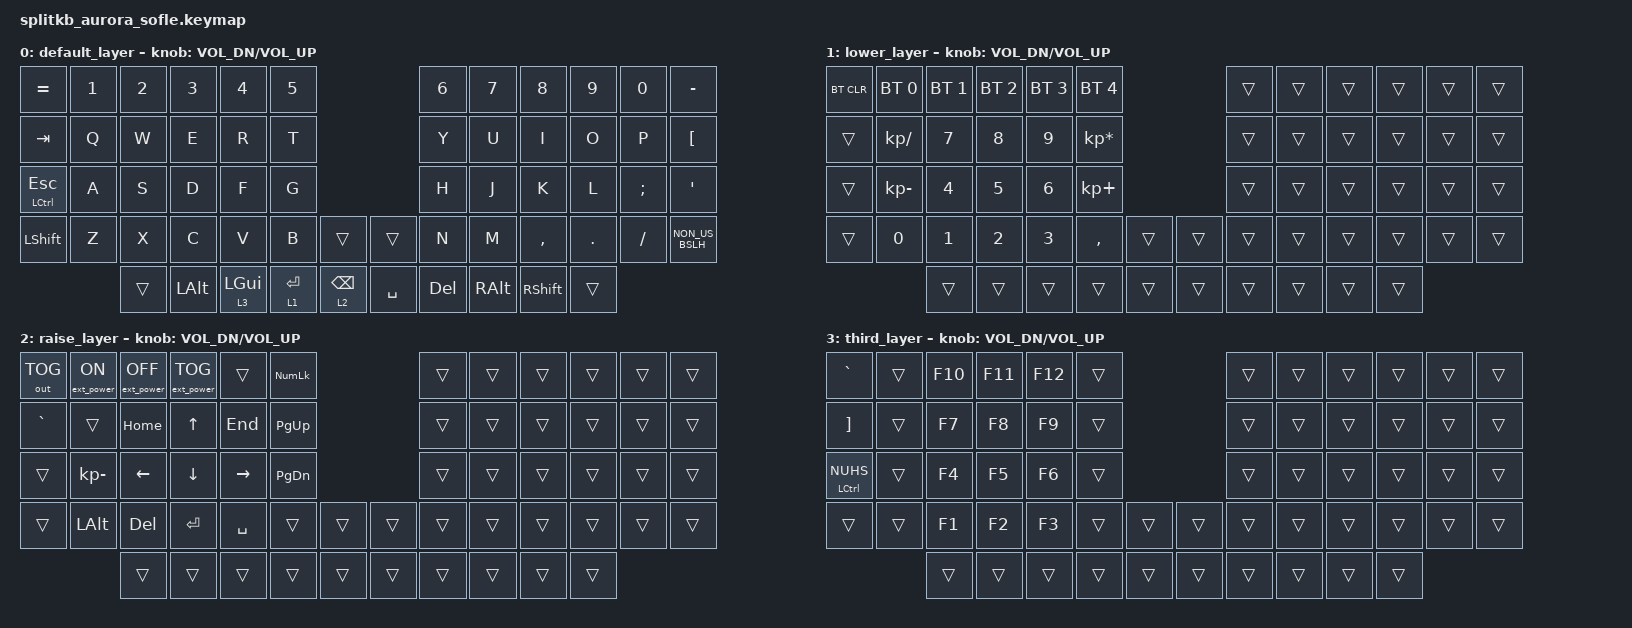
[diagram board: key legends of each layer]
/*
 * Copyright (c) 2023 The ZMK Contributors
 *
 * SPDX-License-Identifier: MIT
 */

#include <behaviors.dtsi>
#include <dt-bindings/zmk/keys.h>
#include <dt-bindings/zmk/bt.h>
#include <dt-bindings/zmk/ext_power.h>
#include <dt-bindings/zmk/outputs.h>

/* Uncomment this block if using RGB
&led_strip {
    chain-length = <6>;
    // chain-length = <35>; // Uncomment if using both per-key and underglow LEDs
    // chain-length = <29>; // Uncomment if using only per-key LEDs.
};
 */

/ {
    keymap {
        compatible = "zmk,keymap";

        default_layer {
// ------------------------------------------------------------------------------------------------------------
// | EQUAL    |  1  |  2  |  3     |  4      |  5   |                   |  6   |  7    |  8    |  9   |   0   |   +   |
// | TAB      |  Q  |  W  |  E     |  R      |  T   |                   |  Y   |  U    |  I    |  O   |   P   |   Å   |
// | CTRL/ESC |  A  |  S  |  D     |  F      |  G   |                   |  H   |  J    |  K    |  L   |   Ö   |   Ä   |
// | SHIFT    |  Z  |  X  |  C     |  V      |  B   |   |       |       |  N   |  M    |  ,    |  .   |   -   |  <>|  |
//            |     | ALT | GUI/L3 | NUM     | BSPC/NAV |       | SPACE | DEL  | RALT  |       |      |
            bindings = <
&kp EQUAL      &kp N1     &kp N2    &kp N3   &kp N4      &kp N5                                &kp N6   &kp N7   &kp N8        &kp N9   &kp N0    &kp MINUS
&kp TAB        &kp Q      &kp W     &kp E    &kp R       &kp T                                 &kp Y    &kp U    &kp I         &kp O    &kp P     &kp LBKT
&mt LCTRL ESC  &kp A      &kp S     &kp D    &kp F       &kp G                                 &kp H    &kp J    &kp K         &kp L    &kp SEMI  &kp SQT
&kp LSHFT      &kp Z      &kp X     &kp C    &kp V       &kp B       &trans         &trans     &kp N    &kp M    &kp COMMA     &kp DOT  &kp FSLH  &kp NON_US_BSLH
                          &trans    &kp LALT &lt 3 LGUI  &lt 1 RET   &lt 2 BSPC     &kp SPACE  &kp DEL  &kp RALT &kp RSHFT     &trans 
            >;

            sensor-bindings = <&inc_dec_kp C_VOL_DN C_VOL_UP>;
        };

        lower_layer {
// ------------------------------------------------------------------------------------------------------------
// | BTCLR | BT1 | BT2 |  BT3 |  BT4 |  BT5 |                   |      |       |       |      |       |       |
// |       |  /  |  7  |  8   |  9   |  *   |                   |      |       |       |      |       |       |
// |       |  -  |  4  |  5   |  6   |  +   |                   |      |       |       |      |       |       |
// |       |  0  |  1  |  2   |  3   |  ,   |        |  |       |      |       |       |      |       |       |
//               |     |      |      |      |        |  |       |      |       |       |      |
            bindings = <
&bt BT_CLR  &bt BT_SEL 0     &bt BT_SEL 1    &bt BT_SEL 2    &bt BT_SEL 3   &bt BT_SEL 4                       &trans    &trans    &trans    &trans    &trans    &trans
&trans      &kp KP_DIVIDE    &kp N7          &kp N8          &kp N9         &kp KP_MULTIPLY                    &trans    &trans    &trans    &trans    &trans    &trans
&trans      &kp KP_MINUS     &kp N4          &kp N5          &kp N6         &kp KP_PLUS                        &trans    &trans    &trans    &trans    &trans    &trans
&trans      &kp N0           &kp N1          &kp N2          &kp N3         &kp COMMA    &trans      &trans    &trans    &trans    &trans    &trans    &trans    &trans
                             &trans          &trans          &trans         &trans       &trans      &trans    &trans    &trans    &trans    &trans
            >;

            sensor-bindings = <&inc_dec_kp C_VOL_DN C_VOL_UP>;
        };

        raise_layer {
// ------------------------------------------------------------------------------------------------------------
// | USB/BT | EP_ON | EP_OFF | EP_TOG |      | NUML |                   |      |       |       |      |       |       |
// |        |       |  HOME  |   ^    | END  | PGUP |                   |      |       |       |      |       |       |
// |        |   -   |   <-   |   v    |  ->  | PGDN |                   |      |       |       |      |       |       |
// |        |  LALT |  DEL   | RETUR  | SPACE| LALT |        |  |       |      |       |       |      |       |       |
//                  |        |        |      |      |        |  |       |      |       |       |      |
            bindings = <
&out OUT_TOG &ext_power EP_ON &ext_power EP_OFF &ext_power EP_TOG  &trans    &kp KP_NLCK                     &trans      &trans    &trans    &trans   &trans    &trans
&kp GRAVE    &trans           &kp HOME          &kp UP             &kp END   &kp PG_UP                       &trans      &trans    &trans    &trans   &trans    &trans
&trans       &kp KP_MINUS     &kp LEFT          &kp DOWN           &kp RIGHT &kp PG_DN                       &trans      &trans    &trans    &trans   &trans    &trans
&trans       &kp LALT         &kp DEL           &kp RET            &kp SPACE &trans    &trans        &trans  &trans      &trans    &trans    &trans   &trans    &trans
                              &trans            &trans             &trans    &trans    &trans        &trans  &trans      &trans    &trans    &trans
            >;

            sensor-bindings = <&inc_dec_kp C_VOL_DN C_VOL_UP>;
        };

        third_layer {
// ------------------------------------------------------------------------------------------------------------
// |  GRAVE     |       |   F10  |   F11  |  F12 |      |                      |      |       |       |      |       |       |
// |  RBKT      |       |   F7   |   F8   |  F9  |      |                      |      |       |       |      |       |       |
// |  CTRL/NUHS |       |   F4   |   F5   |  F6  |      |                      |      |       |       |      |       |       |
// |            |       |   F1   |   F2   |  F3  |      |      |       |       |      |       |       |      |       |       |
//              |       |        |      |      |        |      |       |       |      |       |       |
            bindings = <
&kp GRAVE      &trans     &kp F10     &kp F11      &kp F12   &trans                          &trans      &trans    &trans    &trans   &trans    &trans
&kp RBKT       &trans     &kp F7      &kp F8       &kp F9    &trans                          &trans      &trans    &trans    &trans   &trans    &trans
&mt LCTRL NUHS &trans     &kp F4      &kp F5       &kp F6    &trans                          &trans      &trans    &trans    &trans   &trans    &trans
&trans         &trans     &kp F1      &kp F2       &kp F3    &trans    &trans        &trans  &trans      &trans    &trans    &trans   &trans    &trans
                          &trans      &trans       &trans    &trans    &trans        &trans  &trans      &trans    &trans    &trans
            >;

            sensor-bindings = <&inc_dec_kp C_VOL_DN C_VOL_UP>;
        };
    };
};
